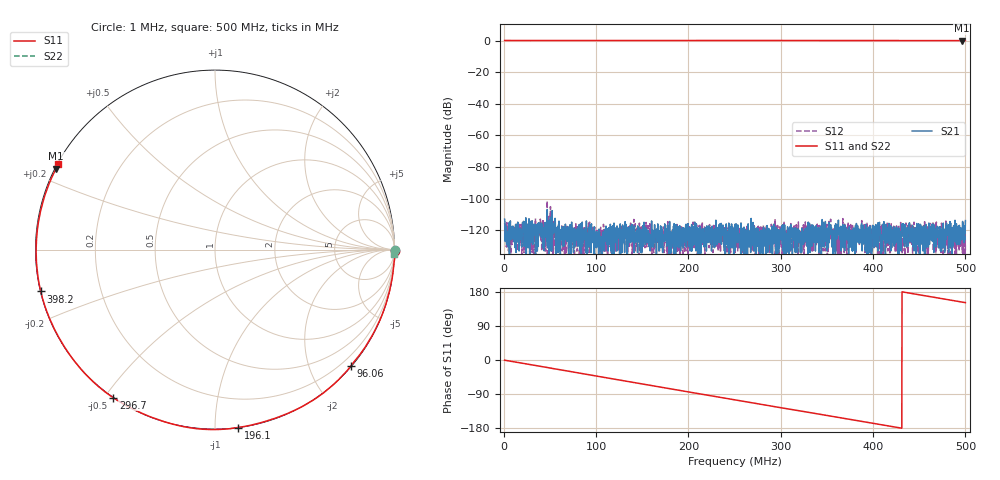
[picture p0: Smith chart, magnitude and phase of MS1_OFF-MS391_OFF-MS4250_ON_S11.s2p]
! MS46122B
! 1746301/73750021
! 11/3/2023 2:46:12 PM
! C:\USERS\SPEGWAL\DOWNLOADS\SAURABH\REACH\NODES\FRONT END\MEASUREMENTS\MEASURED S-PARAMETERS_03-11-2023\MS3-MS4_MS1_CABLE\MS1_OFF-MS391_OFF-MS4250_ON_S11.S2P
! CHANNEL.1
! TR.MEASUREMENT
! CORRECTED.DATA
# GHZ S RI R 50.0
! FREQ.GHZ  S11RE  S11IM  S21RE  S21IM  S12RE  S12IM  S22RE  S22IM
!; PortSelection: Port_12
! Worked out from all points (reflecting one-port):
!   2001 points, 1 MHz to 500 MHz, reference 50 ohm
!   lowest |S11| = -0.1 dB at 496 MHz (marker M1), VSWR 313.48, Z = 0.169 + j12 ohm
!   phase of S11 starts at -0 deg and turns -208 deg over the sweep
!   S11 on the Smith chart (normalised r, x): 1 MHz: open; 96.06 MHz: 0.01, -2.71; 196.1 MHz: 0.00, -1.14; 296.7 MHz: -0.00, -0.53; 398.2 MHz: 0.00, -0.12; 500 MHz: 0.00, +0.26
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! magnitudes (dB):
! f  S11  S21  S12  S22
! 1 MHz  0.0  -112.9  -115.3  0.0
! 11.23 MHz  0.0  -127.0  -122.4  0.0
! 44.66 MHz  0.0  -115.2  -121.4  0.0
! 84.33 MHz  0.0  -128.9  -118.9  0.0
! 91.57 MHz  0.0  -127.4  -125.4  0.0
! 96.06 MHz  0.0  -127.4  -123.5  0.0
! 106.5 MHz  0.0  -125.4  -128.9  0.0
! 128.5 MHz  0.0  -122.8  -128.9  0.0
! 167.4 MHz  0.0  -119.7  -124.7  0.0
! 181.6 MHz  0.0  -121.7  -137.0  0.0
! 196.1 MHz  0.0  -119.5  -130.0  0.0
! 224.3 MHz  0.0  -122.8  -124.3  0.0
! 250.5 MHz  0.0  -133.0  -121.9  0.0
! 272.2 MHz  0.0  -125.9  -131.0  0.0
! 296.7 MHz  0.0  -126.0  -116.9  0.0
! 313.9 MHz  0.0  -126.0  -120.7  0.0
! 333.8 MHz  0.0  -116.6  -123.5  0.0
! 362 MHz  0.0  -120.7  -121.9  0.0
! 398.2 MHz  0.0  -123.5  -122.1  0.0
! 416.9 MHz  0.0  -122.8  -127.0  0.0
! 496 MHz  -0.1  -118.9  -118.6  0.0
! 500 MHz  -0.1  -113.8  -134.0  0.0
